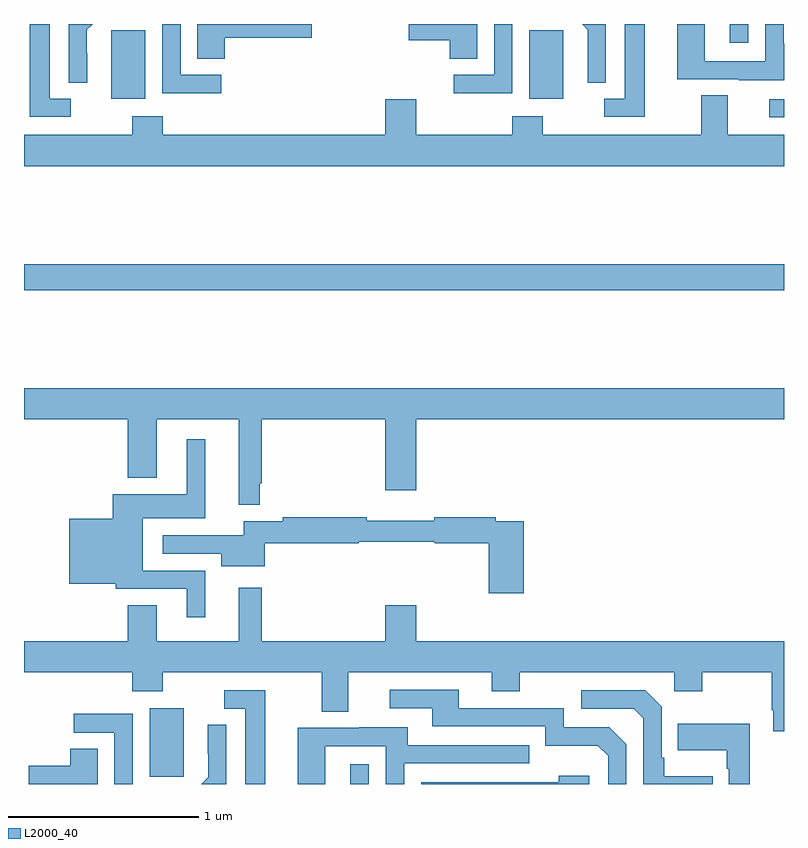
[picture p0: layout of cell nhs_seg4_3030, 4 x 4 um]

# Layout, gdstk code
import gdstk
lib = gdstk.Library(unit=1e-6, precision=1e-09)
def R(c, l, rs):  # rectangles x0, y0, x1, y1
    for r in rs: c.add(gdstk.rectangle(r[:2], r[2:], *l))
def P(c, l, *ps):  # polygons
    for p in ps: c.add(gdstk.Polygon(p, *l))
L2000_40 = (2000, 40)

nhs_seg4_3030 = lib.new_cell('nhs_seg4_3030')
R(nhs_seg4_3030, L2000_40, [(272.717,794.9,272.814,795.004), (271.661,794.937,271.84,795.298), (271,797.5,275,797.636), (274.923,798.408,275,798.504), (271.46,798.506,271.639,798.867), (273.659,798.506,273.838,798.867), (274.715,798.801,274.812,798.9)])
P(nhs_seg4_3030, L2000_40, [(275,798.795),(274.998,798.795),(274.998,798.9),(274.902,798.9),(274.902,798.705),(274.584,798.705),(274.584,798.9),(274.439,798.9),(274.439,798.609),(274.763,798.609),(274.763,798.605),(275,798.605)],
  [(273.385,798.9),(273.024,798.9),(273.024,798.814),(273.242,798.814),(273.242,798.718),(273.385,798.718)],
  [(272.057,798.827),(272.515,798.827),(272.515,798.9),(271.913,798.9),(271.913,798.718),(272.057,798.718)],
  [(271.246,798.507),(271.135,798.507),(271.135,798.9),(271.031,798.9),(271.031,798.411),(271.246,798.411)],
  [(271.332,798.746),(271.331,798.746),(271.331,798.869),(271.362,798.9),(271.236,798.9),(271.236,798.592),(271.332,798.592)],
  [(272.038,798.633),(271.824,798.633),(271.824,798.9),(271.728,798.9),(271.728,798.535),(272.038,798.535)],
  [(274.267,798.9),(274.163,798.9),(274.163,798.507),(274.053,798.507),(274.053,798.411),(274.267,798.411)],
  [(273.57,798.9),(273.474,798.9),(273.474,798.633),(273.261,798.633),(273.261,798.535),(273.57,798.535)],
  [(274.062,798.9),(273.937,798.9),(273.968,798.869),(273.968,798.746),(273.966,798.746),(273.966,798.592),(274.062,798.592)],
  [(275,798.316),(274.705,798.316),(274.705,798.524),(274.565,798.524),(274.565,798.316),(273.729,798.316),(273.729,798.415),(273.569,798.415),(273.569,798.316),(273.064,798.316),(273.064,798.505),(272.9,798.505),(272.9,798.316),(271.73,798.316),(271.73,798.415),(271.57,798.415),(271.57,798.316),(271,798.316),(271,798.152),(275,798.152)],
  [(272.24,796.483),(272.251,796.483),(272.251,796.82),(272.9,796.82),(272.9,796.446),(273.064,796.446),(273.064,796.82),(275,796.82),(275,796.984),(271,796.984),(271,796.82),(271.547,796.82),(271.547,796.511),(271.699,796.511),(271.699,796.82),(272.129,796.82),(272.129,796.371),(272.24,796.371)],
  [(271.954,796.023),(271.624,796.023),(271.624,796.298),(271.954,796.298),(271.954,796.714),(271.856,796.714),(271.856,796.426),(271.466,796.426),(271.466,796.297),(271.238,796.297),(271.238,795.953),(271.482,795.953),(271.482,795.927),(271.856,795.927),(271.856,795.777),(271.954,795.777)],
  [(273.629,796.284),(273.482,796.284),(273.482,796.304),(273.16,796.304),(273.16,796.285),(272.804,796.285),(272.804,796.304),(272.362,796.304),(272.362,796.284),(272.156,796.284),(272.156,796.209),(271.731,796.209),(271.731,796.113),(272.039,796.113),(272.039,796.046),(272.266,796.046),(272.266,796.168),(272.762,796.168),(272.762,796.176),(273.162,796.176),(273.162,796.168),(273.446,796.168),(273.446,795.903),(273.629,795.903)],
  [(275,795.652),(273.064,795.652),(273.064,795.841),(272.9,795.841),(272.9,795.652),(272.251,795.652),(272.251,795.934),(272.129,795.934),(272.129,795.652),(271.699,795.652),(271.699,795.842),(271.547,795.842),(271.547,795.652),(271,795.652),(271,795.488),(271.571,795.488),(271.571,795.389),(271.731,795.389),(271.731,795.488),(272.567,795.488),(272.567,795.28),(272.707,795.28),(272.707,795.488),(273.461,795.488),(273.461,795.389),(273.609,795.389),(273.609,795.488),(274.422,795.488),(274.422,795.389),(274.569,795.389),(274.569,795.488),(274.936,795.488),(274.936,795.289),(274.943,795.289),(274.943,795.177),(275,795.177)],
  [(274.17,795.108),(274.08,795.198),(273.84,795.198),(273.84,795.3),(273.289,795.3),(273.289,795.396),(272.925,795.396),(272.925,795.3),(273.149,795.3),(273.149,795.204),(273.744,795.204),(273.744,795.101),(274.021,795.101),(274.074,795.048),(274.074,794.9),(274.17,794.9)],
  [(272.269,795.393),(272.055,795.393),(272.055,795.297),(272.165,795.297),(272.165,794.9),(272.269,794.9)],
  [(274.625,794.941),(274.369,794.941),(274.369,795.037),(274.356,795.037),(274.356,795.306),(274.269,795.393),(273.933,795.393),(273.933,795.297),(274.209,795.297),(274.26,795.246),(274.26,794.9),(274.625,794.9)],
  [(271.572,795.27),(271.263,795.27),(271.263,795.171),(271.476,795.171),(271.476,794.9),(271.572,794.9)],
  [(274.819,795.217),(274.441,795.217),(274.441,795.077),(274.698,795.077),(274.698,794.981),(274.71,794.981),(274.71,794.9),(274.819,794.9)],
  [(272.064,795.212),(271.968,795.212),(271.968,795.058),(271.97,795.058),(271.97,794.936),(271.934,794.9),(272.064,794.9)],
  [(272.586,795.099),(272.904,795.099),(272.904,794.9),(273,794.9),(273,795.009),(273.659,795.009),(273.659,795.105),(273.019,795.105),(273.019,795.199),(272.765,795.199),(272.765,795.195),(272.441,795.195),(272.441,794.9),(272.586,794.9)],
  [(271.387,795.086),(271.244,795.086),(271.244,794.996),(271.026,794.996),(271.026,794.9),(271.387,794.9)],
  [(273.976,794.944),(273.815,794.944),(273.815,794.91),(273.09,794.91),(273.09,794.9),(273.976,794.9)])

lib.write_gds('nhs_seg4_3030.gds')
